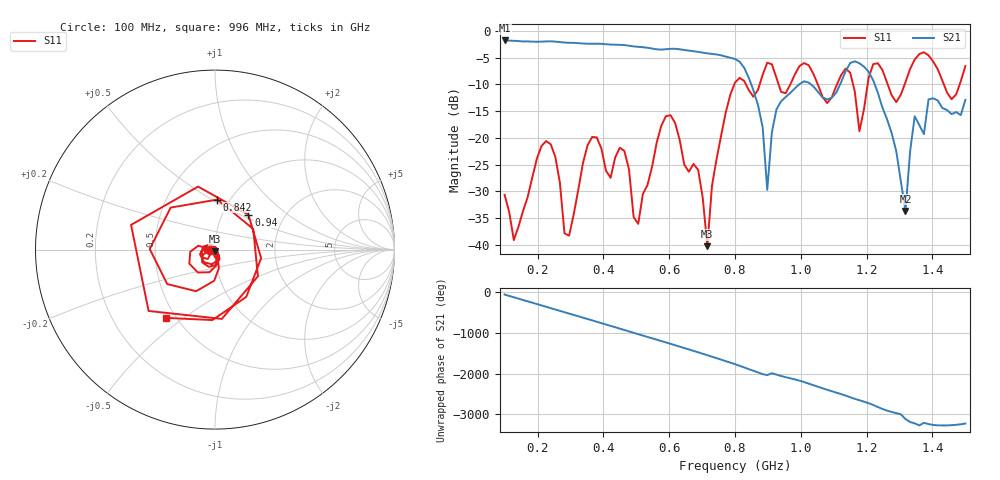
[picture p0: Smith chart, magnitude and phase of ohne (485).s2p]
! NanoVNA-App
! Date: 2025-09-25 14:24:34
! Start: 100MHz Stop: 1,5GHz Points: 101
! S-Parameter data: F S11 S21 S12 S22
# Hz S RI R 50
!  Frequency  S11_Real  S11_Imag  S21_Real  S21_Imag  S12_Real  S12_Imag  S22_Real  S22_Imag
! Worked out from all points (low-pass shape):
!   101 points, 100 MHz to 1.5 GHz, reference 50 ohm
!   highest |S21| = -1.79 dB at 100 MHz (marker M1); lowest = -33.7 dB at 1.318 GHz (marker M2)
!   |S21| within 3 dB of the highest: start of sweep to 771.2 MHz
!   lowest |S11| = -40.2 dB at 716 MHz (marker M3), VSWR 1.02, Z = 49.8 - j0.957 ohm
!   |S11| at or under -10 dB: start of sweep to 798 MHz; 833.2 MHz to 875.1 MHz (41.87 MHz wide, 4.9 % of centre); 1.052 GHz to 1.11 GHz (58.27 MHz wide, 5.39 % of centre) (the widest 3 of 7)
!   S12 and S22 are empty: the file has one direction only
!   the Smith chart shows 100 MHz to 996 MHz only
!   S11 on the Smith chart (normalised r, x): 100 MHz: 0.94, -0.01; 842 MHz: 0.88, +0.53; 940 MHz: 1.33, +0.56; 996 MHz: 0.44, -0.43
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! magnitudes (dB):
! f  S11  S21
! 100 MHz  -30.6  -1.8
! 128 MHz  -39.1  -1.9
! 226 MHz  -20.6  -2.0
! 296 MHz  -38.3  -2.2
! 338 MHz  -24.7  -2.4
! 464 MHz  -22.5  -2.7
! 506 MHz  -36.1  -3.0
! 576 MHz  -17.7  -3.5
! 688 MHz  -26.0  -3.9
! 716 MHz  -40.2  -4.2
! 800 MHz  -9.7  -5.2
! 842 MHz  -11.1  -8.8
! 898 MHz  -6.0  -29.7
! 940 MHz  -11.4  -13.2
! 996 MHz  -6.6  -9.9
! 1.038 GHz  -8.0  -10.4
! 1.178 GHz  -18.7  -6.1
! 1.22 GHz  -6.2  -9.3
! 1.276 GHz  -12.0  -19.1
! 1.318 GHz  -9.6  -33.7
! 1.346 GHz  -5.4  -16.0
! 1.5 GHz  -6.6  -12.9
